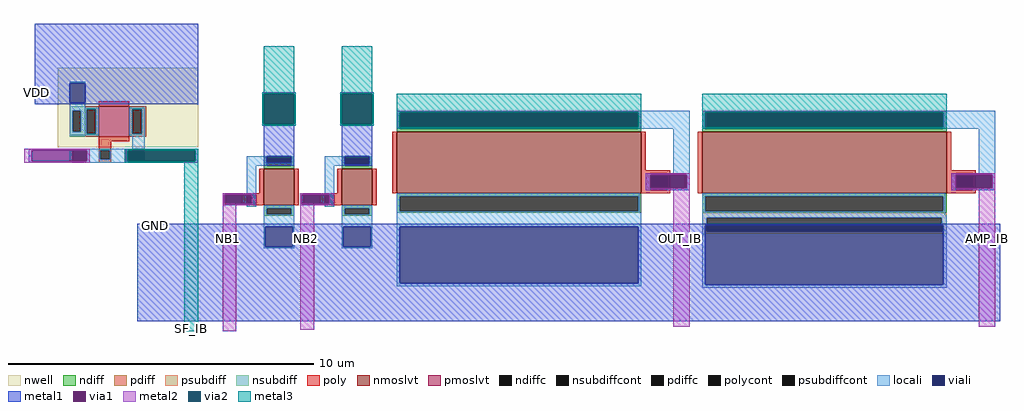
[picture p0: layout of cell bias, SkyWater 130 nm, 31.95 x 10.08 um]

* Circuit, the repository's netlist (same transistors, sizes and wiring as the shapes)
* SPICE3 file created from bias.ext - technology: sky130A

.subckt bias NB1 NB2 OUT_IB AMP_IB SF_IB VDD GND
X0 NB1 NB1 GND GND sky130_fd_pr__nfet_01v8_lvt ad=3.5e+11p pd=2.7e+06u as=1.11e+13p ps=4e+07u w=1e+06u l=1.2e+06u
X1 NB2 NB2 GND GND sky130_fd_pr__nfet_01v8_lvt ad=3.5e+11p pd=2.7e+06u as=0p ps=0u w=1e+06u l=1.2e+06u
X2 AMP_IB AMP_IB GND GND sky130_fd_pr__nfet_01v8_lvt ad=5.6e+12p pd=1.74e+07u as=0p ps=0u w=8e+06u l=2e+06u
X3 OUT_IB OUT_IB GND GND sky130_fd_pr__nfet_01v8_lvt ad=5.6e+12p pd=1.74e+07u as=0p ps=0u w=8e+06u l=2e+06u
X4 SF_IB SF_IB VDD VDD sky130_fd_pr__pfet_01v8_lvt ad=5.5e+11p pd=3.1e+06u as=4.5e+11p ps=2.9e+06u w=1e+06u l=1e+06u
.ends

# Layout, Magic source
magic
tech sky130A
magscale 1 2
<< nwell >>
rect 1010 -1030 1930 -510
<< pmoslvt >>
rect 1280 -960 1480 -760
<< nmoslvt >>
rect 2360 -1410 2560 -1170
rect 2870 -1410 3070 -1170
rect 3230 -1330 4830 -930
rect 5230 -1330 6830 -930
<< ndiff >>
rect 3230 -810 4830 -790
rect 3230 -910 3250 -810
rect 4810 -910 4830 -810
rect 3230 -930 4830 -910
rect 5230 -810 6830 -790
rect 5230 -910 5250 -810
rect 6810 -910 6830 -810
rect 5230 -930 6830 -910
rect 2360 -1110 2560 -1100
rect 2360 -1150 2380 -1110
rect 2540 -1150 2560 -1110
rect 2360 -1170 2560 -1150
rect 2870 -1110 3070 -1100
rect 2870 -1150 2890 -1110
rect 3050 -1150 3070 -1110
rect 2870 -1170 3070 -1150
rect 3230 -1350 4830 -1330
rect 2360 -1430 2560 -1410
rect 2360 -1470 2380 -1430
rect 2540 -1470 2560 -1430
rect 2360 -1480 2560 -1470
rect 2870 -1430 3070 -1410
rect 2870 -1470 2890 -1430
rect 3050 -1470 3070 -1430
rect 3230 -1450 3250 -1350
rect 4810 -1450 4830 -1350
rect 3230 -1460 4830 -1450
rect 5230 -1350 6830 -1330
rect 5230 -1450 5250 -1350
rect 6810 -1450 6830 -1350
rect 5230 -1460 6830 -1450
rect 2870 -1480 3070 -1470
<< pdiff >>
rect 1190 -780 1280 -760
rect 1190 -940 1200 -780
rect 1260 -940 1280 -780
rect 1190 -960 1280 -940
rect 1480 -780 1590 -760
rect 1480 -940 1500 -780
rect 1560 -940 1590 -780
rect 1480 -960 1590 -940
<< ndiffc >>
rect 3250 -910 4810 -810
rect 5250 -910 6810 -810
rect 2380 -1150 2540 -1110
rect 2890 -1150 3050 -1110
rect 2380 -1470 2540 -1430
rect 2890 -1470 3050 -1430
rect 3250 -1450 4810 -1350
rect 5250 -1450 6810 -1350
<< pdiffc >>
rect 1200 -940 1260 -780
rect 1500 -940 1560 -780
<< psubdiff >>
rect 5230 -1490 6830 -1460
rect 5230 -1580 5260 -1490
rect 6800 -1580 6830 -1490
rect 5230 -1600 6830 -1580
<< nsubdiff >>
rect 1090 -790 1190 -760
rect 1090 -930 1110 -790
rect 1160 -930 1190 -790
rect 1090 -960 1190 -930
<< psubdiffcont >>
rect 5260 -1580 6800 -1490
<< nsubdiffcont >>
rect 1110 -930 1160 -790
<< poly >>
rect 1280 -760 1480 -730
rect 1280 -990 1480 -960
rect 1280 -1050 1360 -990
rect 1280 -1110 1290 -1050
rect 1350 -1110 1360 -1050
rect 1280 -1130 1360 -1110
rect 2330 -1330 2360 -1170
rect 2230 -1340 2360 -1330
rect 2230 -1400 2250 -1340
rect 2310 -1400 2360 -1340
rect 2230 -1410 2360 -1400
rect 2560 -1410 2590 -1170
rect 2840 -1330 2870 -1170
rect 2740 -1340 2870 -1330
rect 2740 -1400 2760 -1340
rect 2820 -1400 2870 -1340
rect 2740 -1410 2870 -1400
rect 3070 -1410 3100 -1170
rect 3200 -1330 3230 -930
rect 4830 -1180 4860 -930
rect 4830 -1200 5020 -1180
rect 4830 -1310 4890 -1200
rect 5000 -1310 5020 -1200
rect 4830 -1330 5020 -1310
rect 5200 -1330 5230 -930
rect 6830 -1180 6860 -930
rect 6830 -1200 7020 -1180
rect 6830 -1310 6890 -1200
rect 7000 -1310 7020 -1200
rect 6830 -1330 7020 -1310
<< polycont >>
rect 1290 -1110 1350 -1050
rect 2250 -1400 2310 -1340
rect 2760 -1400 2820 -1340
rect 4890 -1310 5000 -1200
rect 6890 -1310 7000 -1200
<< locali >>
rect 1090 -610 1190 -600
rect 1090 -770 1190 -740
rect 1090 -780 1280 -770
rect 1090 -790 1200 -780
rect 1090 -930 1110 -790
rect 1160 -930 1200 -790
rect 1090 -940 1200 -930
rect 1260 -940 1280 -780
rect 1090 -950 1280 -940
rect 1480 -780 1580 -770
rect 1480 -940 1500 -780
rect 1560 -940 1580 -780
rect 3230 -810 5150 -790
rect 3230 -910 3250 -810
rect 4810 -910 5150 -810
rect 5230 -810 7150 -790
rect 5230 -910 5250 -810
rect 6810 -910 7150 -810
rect 1480 -950 1580 -940
rect 1500 -1040 1580 -950
rect 1090 -1050 1580 -1040
rect 1090 -1120 1110 -1050
rect 1200 -1110 1290 -1050
rect 1350 -1110 1470 -1050
rect 1200 -1120 1470 -1110
rect 1090 -1130 1580 -1120
rect 2250 -1150 2380 -1090
rect 2540 -1150 2560 -1090
rect 2760 -1150 2890 -1090
rect 3050 -1150 3070 -1090
rect 2250 -1330 2310 -1150
rect 2760 -1330 2820 -1150
rect 5040 -1200 5150 -910
rect 7040 -1200 7150 -910
rect 4860 -1310 4890 -1200
rect 5000 -1210 5150 -1200
rect 5120 -1300 5150 -1210
rect 5000 -1310 5150 -1300
rect 6860 -1310 6890 -1200
rect 7000 -1210 7150 -1200
rect 7120 -1300 7150 -1210
rect 7000 -1310 7150 -1300
rect 2180 -1340 2310 -1330
rect 2220 -1400 2250 -1340
rect 2180 -1410 2310 -1400
rect 2600 -1340 2820 -1330
rect 2600 -1400 2620 -1340
rect 2730 -1400 2760 -1340
rect 2600 -1410 2820 -1400
rect 3230 -1350 4820 -1330
rect 2250 -1420 2310 -1410
rect 2360 -1430 2560 -1410
rect 2760 -1420 2820 -1410
rect 2360 -1470 2380 -1430
rect 2540 -1470 2560 -1430
rect 2360 -1550 2560 -1470
rect 2360 -1680 2370 -1550
rect 2550 -1680 2560 -1550
rect 2360 -1690 2560 -1680
rect 2870 -1430 3070 -1410
rect 2870 -1470 2890 -1430
rect 3050 -1470 3070 -1430
rect 2870 -1550 3070 -1470
rect 2870 -1680 2880 -1550
rect 3060 -1680 3070 -1550
rect 2870 -1690 3070 -1680
rect 3230 -1450 3250 -1350
rect 4810 -1450 4820 -1350
rect 3230 -1460 4820 -1450
rect 5230 -1350 6820 -1330
rect 5230 -1450 5250 -1350
rect 6810 -1450 6820 -1350
rect 3230 -1550 4830 -1460
rect 3230 -1920 3250 -1550
rect 4810 -1920 4830 -1550
rect 3230 -1940 4830 -1920
rect 5230 -1476 6820 -1450
rect 5230 -1490 6830 -1476
rect 5230 -1540 5260 -1490
rect 6800 -1540 6830 -1490
rect 5230 -1930 5250 -1540
rect 6810 -1930 6830 -1540
rect 5230 -1950 6830 -1930
<< viali >>
rect 1090 -740 1190 -610
rect 3250 -900 4810 -810
rect 5250 -900 6810 -810
rect 1110 -1120 1200 -1050
rect 1470 -1120 1580 -1050
rect 2380 -1110 2540 -1090
rect 2380 -1130 2540 -1110
rect 2890 -1110 3050 -1090
rect 2890 -1140 3050 -1110
rect 4890 -1300 5000 -1210
rect 5000 -1300 5120 -1210
rect 6890 -1300 7000 -1210
rect 7000 -1300 7120 -1210
rect 2110 -1400 2220 -1340
rect 2620 -1400 2730 -1340
rect 2370 -1680 2550 -1550
rect 2880 -1680 3060 -1550
rect 3250 -1920 4810 -1550
rect 5250 -1580 5260 -1540
rect 5260 -1580 6800 -1540
rect 6800 -1580 6810 -1540
rect 5250 -1930 6810 -1580
<< metal1 >>
rect 860 -610 1930 -220
rect 860 -740 1090 -610
rect 1190 -740 1930 -610
rect 860 -750 1930 -740
rect 2360 -680 2560 -674
rect 820 -1050 1220 -1040
rect 820 -1120 840 -1050
rect 1200 -1120 1220 -1050
rect 820 -1130 1220 -1120
rect 1450 -1050 1930 -1040
rect 1450 -1120 1460 -1050
rect 1910 -1120 1930 -1050
rect 1450 -1130 1930 -1120
rect 2360 -1090 2560 -880
rect 2360 -1130 2380 -1090
rect 2540 -1130 2560 -1090
rect 2360 -1150 2560 -1130
rect 2870 -680 3070 -674
rect 2870 -1090 3070 -880
rect 3230 -800 4830 -790
rect 3230 -900 3250 -800
rect 4810 -900 4830 -800
rect 3230 -910 4830 -900
rect 5230 -800 6830 -790
rect 5230 -900 5250 -800
rect 6810 -900 6830 -800
rect 5230 -910 6830 -900
rect 2870 -1140 2890 -1090
rect 3050 -1140 3070 -1090
rect 2870 -1150 3070 -1140
rect 4860 -1210 5150 -1200
rect 4860 -1300 4890 -1210
rect 5130 -1300 5150 -1210
rect 4860 -1310 5150 -1300
rect 6860 -1210 7150 -1200
rect 6860 -1300 6890 -1210
rect 7130 -1300 7150 -1210
rect 6860 -1310 7150 -1300
rect 2090 -1340 2310 -1330
rect 2090 -1400 2100 -1340
rect 2280 -1400 2310 -1340
rect 2090 -1410 2310 -1400
rect 2600 -1340 2820 -1330
rect 2600 -1400 2610 -1340
rect 2790 -1400 2820 -1340
rect 2600 -1410 2820 -1400
rect 1530 -1540 7180 -1530
rect 1530 -1550 5250 -1540
rect 1530 -1680 2370 -1550
rect 2550 -1680 2880 -1550
rect 3060 -1680 3250 -1550
rect 1530 -1920 3250 -1680
rect 4810 -1920 5250 -1550
rect 1530 -1930 5250 -1920
rect 6810 -1930 7180 -1540
rect 1530 -2170 7180 -1930
<< via1 >>
rect 2360 -880 2560 -680
rect 840 -1120 1110 -1050
rect 1110 -1120 1200 -1050
rect 1460 -1120 1470 -1050
rect 1470 -1120 1580 -1050
rect 1580 -1120 1910 -1050
rect 2870 -880 3070 -680
rect 3250 -810 4810 -800
rect 3250 -900 4810 -810
rect 5250 -810 6810 -800
rect 5250 -900 6810 -810
rect 4890 -1300 5120 -1210
rect 5120 -1300 5130 -1210
rect 6890 -1300 7120 -1210
rect 7120 -1300 7130 -1210
rect 2100 -1400 2110 -1340
rect 2110 -1400 2220 -1340
rect 2220 -1400 2280 -1340
rect 2610 -1400 2620 -1340
rect 2620 -1400 2730 -1340
rect 2730 -1400 2790 -1340
<< metal2 >>
rect 2350 -680 2570 -670
rect 2350 -880 2360 -680
rect 2560 -880 2570 -680
rect 2350 -890 2570 -880
rect 2860 -680 3080 -670
rect 2860 -880 2870 -680
rect 3070 -880 3080 -680
rect 2860 -890 3080 -880
rect 3230 -800 4830 -790
rect 3230 -900 3250 -800
rect 4810 -900 4830 -800
rect 3230 -910 4830 -900
rect 5230 -800 6830 -790
rect 5230 -900 5250 -800
rect 6810 -900 6830 -800
rect 5230 -910 6830 -900
rect 790 -1050 1220 -1040
rect 790 -1120 840 -1050
rect 1200 -1120 1220 -1050
rect 790 -1130 1220 -1120
rect 1450 -1050 1930 -1040
rect 1450 -1120 1460 -1050
rect 1910 -1120 1930 -1050
rect 1450 -1130 1930 -1120
rect 4860 -1210 5150 -1200
rect 4860 -1300 4890 -1210
rect 5130 -1300 5150 -1210
rect 4860 -1310 5150 -1300
rect 6860 -1210 7150 -1200
rect 6860 -1300 6890 -1210
rect 7130 -1300 7150 -1210
rect 6860 -1310 7150 -1300
rect 2090 -1340 2310 -1330
rect 2090 -1400 2100 -1340
rect 2280 -1400 2310 -1340
rect 2090 -1410 2310 -1400
rect 2600 -1340 2820 -1330
rect 2600 -1400 2610 -1340
rect 2790 -1400 2820 -1340
rect 2600 -1410 2820 -1400
rect 2090 -2235 2180 -1410
rect 2600 -2225 2690 -1410
rect 5040 -2205 5150 -1310
rect 7040 -2205 7150 -1310
<< via2 >>
rect 2360 -880 2560 -680
rect 2870 -880 3070 -680
rect 3250 -900 4810 -800
rect 5250 -900 6810 -800
rect 1470 -1120 1910 -1050
<< metal3 >>
rect 2360 -670 2560 -370
rect 2870 -670 3070 -370
rect 2350 -680 2570 -670
rect 2350 -880 2360 -680
rect 2560 -880 2570 -680
rect 2350 -890 2570 -880
rect 2860 -680 3080 -670
rect 2860 -880 2870 -680
rect 3070 -880 3080 -680
rect 2860 -890 3080 -880
rect 3230 -800 4830 -680
rect 3230 -900 3250 -800
rect 4810 -900 4830 -800
rect 3230 -910 4830 -900
rect 5230 -800 6830 -680
rect 5230 -900 5250 -800
rect 6810 -900 6830 -800
rect 5230 -910 6830 -900
rect 1450 -1050 1930 -1040
rect 1450 -1120 1470 -1050
rect 1910 -1120 1930 -1050
rect 1450 -1130 1930 -1120
rect 1840 -2236 1930 -1130
<< labels >>
rlabel metal1 870 -670 870 -670 1 VDD
port 1 n
rlabel metal2 2130 -1630 2130 -1630 1 NB1
port 4 n
rlabel metal2 2640 -1630 2640 -1630 1 NB2
port 5 n
rlabel metal2 5090 -1630 5090 -1630 1 OUT_IB
port 6 n
rlabel metal2 7100 -1630 7100 -1630 1 AMP_IB
port 7 n
rlabel metal1 1650 -1540 1650 -1540 1 GND
port 12 n
rlabel metal3 1840 -2236 1930 -2200 1 SF_IB
port 13 n
<< end >>
